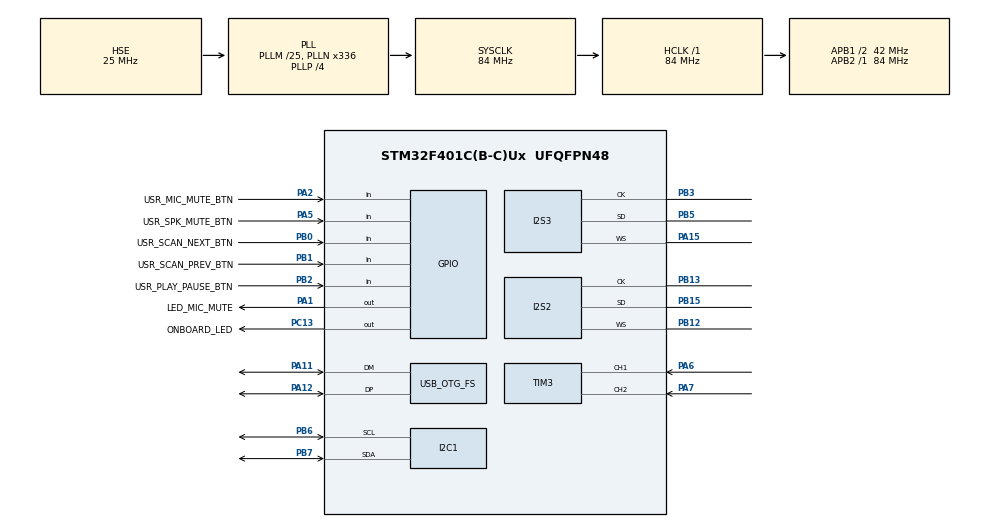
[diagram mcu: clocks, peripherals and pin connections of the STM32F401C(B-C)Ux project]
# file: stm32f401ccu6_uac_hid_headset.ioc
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Dma.I2C1_TX.2.Direction=DMA_MEMORY_TO_PERIPH
Dma.I2C1_TX.2.FIFOMode=DMA_FIFOMODE_DISABLE
Dma.I2C1_TX.2.Instance=DMA1_Stream6
Dma.I2C1_TX.2.MemDataAlignment=DMA_MDATAALIGN_BYTE
Dma.I2C1_TX.2.MemInc=DMA_MINC_ENABLE
Dma.I2C1_TX.2.Mode=DMA_NORMAL
Dma.I2C1_TX.2.PeriphDataAlignment=DMA_PDATAALIGN_BYTE
Dma.I2C1_TX.2.PeriphInc=DMA_PINC_DISABLE
Dma.I2C1_TX.2.Priority=DMA_PRIORITY_LOW
Dma.Request0=SPI2_TX
Dma.Request1=SPI3_RX
Dma.Request2=I2C1_TX
Dma.SPI2_TX.0.Direction=DMA_MEMORY_TO_PERIPH
Dma.SPI2_TX.0.FIFOMode=DMA_FIFOMODE_ENABLE
Dma.SPI2_TX.0.FIFOThreshold=DMA_FIFO_THRESHOLD_HALFFULL
Dma.SPI2_TX.0.Instance=DMA1_Stream4
Dma.SPI2_TX.0.MemBurst=DMA_MBURST_SINGLE
Dma.SPI2_TX.0.MemDataAlignment=DMA_MDATAALIGN_HALFWORD
Dma.SPI2_TX.0.MemInc=DMA_MINC_ENABLE
Dma.SPI2_TX.0.Mode=DMA_CIRCULAR
Dma.SPI2_TX.0.PeriphBurst=DMA_PBURST_SINGLE
Dma.SPI2_TX.0.PeriphDataAlignment=DMA_PDATAALIGN_HALFWORD
Dma.SPI2_TX.0.PeriphInc=DMA_PINC_DISABLE
Dma.SPI2_TX.0.Priority=DMA_PRIORITY_HIGH
Dma.SPI3_RX.1.Direction=DMA_PERIPH_TO_MEMORY
Dma.SPI3_RX.1.FIFOMode=DMA_FIFOMODE_ENABLE
Dma.SPI3_RX.1.FIFOThreshold=DMA_FIFO_THRESHOLD_HALFFULL
Dma.SPI3_RX.1.Instance=DMA1_Stream0
Dma.SPI3_RX.1.MemBurst=DMA_MBURST_SINGLE
Dma.SPI3_RX.1.MemDataAlignment=DMA_MDATAALIGN_HALFWORD
Dma.SPI3_RX.1.MemInc=DMA_MINC_ENABLE
Dma.SPI3_RX.1.Mode=DMA_CIRCULAR
Dma.SPI3_RX.1.PeriphBurst=DMA_PBURST_SINGLE
Dma.SPI3_RX.1.PeriphDataAlignment=DMA_PDATAALIGN_HALFWORD
Dma.SPI3_RX.1.PeriphInc=DMA_PINC_DISABLE
Dma.SPI3_RX.1.Priority=DMA_PRIORITY_HIGH
I2S2.AudioFreq=I2S_AUDIOFREQ_44K
I2S2.DataFormat=I2S_DATAFORMAT_32B
I2S2.ErrorAudioFreq=0.22 %
I2S2.FullDuplexMode=I2S_FULLDUPLEXMODE_DISABLE
I2S2.Instance=SPI$Index
I2S2.RealAudioFreq=44.099 KHz
I2S2.VirtualMode=I2S_MODE_MASTER
I2S3.AudioFreq=I2S_AUDIOFREQ_44K
I2S3.DataFormat=I2S_DATAFORMAT_32B
I2S3.ErrorAudioFreq=0.22 %
I2S3.FullDuplexMode=I2S_FULLDUPLEXMODE_DISABLE
I2S3.Instance=SPI$Index
I2S3.Mode=I2S_MODE_MASTER_RX
I2S3.RealAudioFreq=44.099 KHz
I2S3.VirtualMode=I2S_MODE_MASTER
Mcu.Family=STM32F4
Mcu.Name=STM32F401C(B-C)Ux
Mcu.Package=UFQFPN48
NVIC.DMA1_Stream0_IRQn=true\:0\:0\:false\:false\:true\:false\:true\:true
NVIC.DMA1_Stream4_IRQn=true\:0\:0\:false\:false\:true\:false\:true\:true
NVIC.DMA1_Stream6_IRQn=true\:0\:0\:false\:false\:true\:false\:true\:true
NVIC.I2C1_EV_IRQn=true\:0\:0\:false\:false\:true\:true\:true\:true
NVIC.PriorityGroup=NVIC_PRIORITYGROUP_4
PA1.GPIO_Label=LED_MIC_MUTE
PA1.Signal=GPIO_Output
PA11.Mode=Device_Only
PA11.Signal=USB_OTG_FS_DM
PA12.Mode=Device_Only
PA12.Signal=USB_OTG_FS_DP
PA13.Mode=Serial_Wire
PA13.Signal=SYS_JTMS-SWDIO
PA14.Mode=Serial_Wire
PA14.Signal=SYS_JTCK-SWCLK
PA15.Mode=Half_Duplex_Master
PA15.Signal=I2S3_WS
PA2.GPIO_Label=USR_MIC_MUTE_BTN
PA2.GPIO_PuPd=GPIO_PULLDOWN
PA2.Signal=GPIO_Input
PA5.GPIO_Label=USR_SPK_MUTE_BTN
PA5.GPIO_PuPd=GPIO_PULLUP
PA5.Signal=GPIO_Input
PA6.Signal=S_TIM3_CH1
PA7.Signal=S_TIM3_CH2
PB0.GPIO_Label=USR_SCAN_NEXT_BTN
PB0.GPIO_PuPd=GPIO_PULLDOWN
PB0.Signal=GPIO_Input
PB1.GPIO_Label=USR_SCAN_PREV_BTN
PB1.GPIO_PuPd=GPIO_PULLDOWN
PB1.Signal=GPIO_Input
PB12.Mode=Half_Duplex_Master
PB12.Signal=I2S2_WS
PB13.Mode=Half_Duplex_Master
PB13.Signal=I2S2_CK
PB15.Mode=Half_Duplex_Master
PB15.Signal=I2S2_SD
PB2.GPIO_Label=USR_PLAY_PAUSE_BTN
PB2.GPIO_PuPd=GPIO_PULLDOWN
PB2.Signal=GPIO_Input
PB3.Mode=Half_Duplex_Master
PB3.Signal=I2S3_CK
PB5.Mode=Half_Duplex_Master
PB5.Signal=I2S3_SD
PB6.Mode=I2C
PB6.Signal=I2C1_SCL
PB7.Mode=I2C
PB7.Signal=I2C1_SDA
PC13-ANTI_TAMP.GPIO_Label=ONBOARD_LED
PC13-ANTI_TAMP.Signal=GPIO_Output
PH0\ -\ OSC_IN.Mode=HSE-External-Oscillator
PH0\ -\ OSC_IN.Signal=RCC_OSC_IN
PH1\ -\ OSC_OUT.Mode=HSE-External-Oscillator
PH1\ -\ OSC_OUT.Signal=RCC_OSC_OUT
ProjectManager.HeapSize=0x200
ProjectManager.StackSize=0x400
ProjectManager.TargetToolchain=STM32CubeIDE
RCC.48MHZClocksFreq_Value=48000000
RCC.AHBFreq_Value=84000000
RCC.APB1CLKDivider=RCC_HCLK_DIV2
RCC.APB1Freq_Value=42000000
RCC.APB1TimFreq_Value=84000000
RCC.APB2Freq_Value=84000000
RCC.APB2TimFreq_Value=84000000
RCC.CortexFreq_Value=84000000
RCC.HCLKFreq_Value=84000000
RCC.HSE_VALUE=25000000
RCC.HSI_VALUE=16000000
RCC.LSE_VALUE=32768
RCC.PLLI2SN=429
RCC.PLLI2SR=4
RCC.PLLM=25
RCC.PLLN=336
RCC.PLLP=RCC_PLLP_DIV4
RCC.PLLQ=7
RCC.SYSCLKFreq_VALUE=84000000
RCC.SYSCLKSource=RCC_SYSCLKSOURCE_PLLCLK
RCC.VCOOutputFreq_Value=336000000
SH.S_TIM3_CH1.0=TIM3_CH1,Encoder_Interface
SH.S_TIM3_CH2.0=TIM3_CH2,Encoder_Interface
USB_OTG_FS.VirtualMode=Device_Only
board=custom

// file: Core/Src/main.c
/* USER CODE BEGIN Header */
/**
 ******************************************************************************
 * @file           : main.c
 * @brief          : Main program body
 ******************************************************************************
 * @attention
 *
 * Copyright (c) 2024 STMicroelectronics.
 * All rights reserved.
 *
 * This software is licensed under terms that can be found in the LICENSE file
 * in the root directory of this software component.
 * If no LICENSE file comes with this software, it is provided AS-IS.
 *
 ******************************************************************************
 */
/* USER CODE END Header */
#include "main.h"

/* USER CODE BEGIN Includes */
#include <stdio.h>
#include <string.h>

#include "bsp/board_api.h"
#include "tusb.h"
#include "usb_descriptors.h"

#include "usb_headset.h"
#include "volume_ctrl.h"
#include "ring_buf.h"
#include "usb_headset_settings.h"

#include "ssd1306.h"
#include "ssd1306_fonts.h"

#include "usb_hid_status.h"
/* USER CODE END Includes */

I2C_HandleTypeDef hi2c1;
DMA_HandleTypeDef hdma_i2c1_tx;

I2S_HandleTypeDef hi2s2;
I2S_HandleTypeDef hi2s3;
DMA_HandleTypeDef hdma_spi2_tx;
DMA_HandleTypeDef hdma_spi3_rx;

TIM_HandleTypeDef htim3;

PCD_HandleTypeDef hpcd_USB_OTG_FS;

/* USER CODE BEGIN PV */
usb_headset_settings_t current_settings;

// Buffer for speaker data
ring_buf_t spk_ring_buffer;
uint32_t *spk_ring_buffer_storage;

// Buffer for microphone data
ring_buf_t mic_ring_buffer;
uint32_t *mic_ring_buffer_storage;

// Buffer for speaker data
uint8_t spk_usb_read_buf[SAMPLE_BUFFER_SIZE * 2 * 4 * 2]; // Max size of audio sample is  2 * 4. 2 Channels, 4 byte width sample
i2s_32b_audio_sample spk_32b_i2s_buffer[SAMPLE_BUFFER_SIZE];
i2s_16b_audio_sample spk_16b_i2s_buffer[SAMPLE_BUFFER_SIZE];
uint32_t spk_i2s_buf[SAMPLE_BUFFER_SIZE * 2];

// Buffer for microphone data
uint32_t mic_usb_24b_buffer[SAMPLE_BUFFER_SIZE];
uint16_t mic_usb_16b_buffer[SAMPLE_BUFFER_SIZE];
uint32_t mic_i2s_buf[SAMPLE_BUFFER_SIZE * 2];
uint32_t mic_i2s_read_buffer[SAMPLE_BUFFER_SIZE];
uint32_t num_of_mic_samples;

uint32_t get_num_of_mic_samples();

usb_hid_status_t hid_status;
void check_buttons(void);
void usb_hid_task(void);

void led_blinking_task(void);

HAL_StatusTypeDef refresh_i2s_spk(void);
HAL_StatusTypeDef refresh_i2s_mic(void);
HAL_StatusTypeDef refresh_clk(void);
void refresh_i2s_connections(void);

int32_t usb_to_i2s_32b_sample_convert(int32_t sample, uint32_t volume_db);
int16_t usb_to_i2s_16b_sample_convert(int16_t sample, uint32_t volume_db);

void usb_headset_mute_handler(int8_t bChannelNumber, int8_t mute_in);
void usb_headset_volume_handler(int8_t bChannelNumber, int16_t volume_in);
void usb_headset_current_sample_rate_handler(uint32_t current_sample_rate_in);
void usb_headset_current_resolution_handler(uint8_t itf,
		uint8_t current_resolution_in);
void usb_headset_current_status_set_handler(uint8_t itf,
		uint32_t blink_interval_ms_in);

void usb_headset_tud_audio_rx_done_pre_read_handler(uint8_t rhport,
		uint16_t n_bytes_received, uint8_t func_id, uint8_t ep_out,
		uint8_t cur_alt_setting);
void usb_headset_tud_audio_tx_done_pre_load_handler(uint8_t rhport, uint8_t itf,
		uint8_t ep_in, uint8_t cur_alt_setting);
void usb_headset_tud_audio_tx_done_post_load_handler(uint8_t rhport,
		uint16_t n_bytes_copied, uint8_t itf, uint8_t ep_in,
		uint8_t cur_alt_setting);

int spk_machine_i2s_write_stream(uint32_t *buf_in, uint32_t size);
int mic_machine_i2s_read_stream(uint32_t *buf_in, uint32_t size);

void HAL_I2S_TxHalfCpltCallback(I2S_HandleTypeDef *hi2s);
void HAL_I2S_TxCpltCallback(I2S_HandleTypeDef *hi2s);
void HAL_I2S_RxHalfCpltCallback(I2S_HandleTypeDef *hi2s);
void HAL_I2S_RxCpltCallback(I2S_HandleTypeDef *hi2s);
//void HAL_I2S_ErrorCallback(I2S_HandleTypeDef *hi2s);
void HAL_GPIO_EXTI_Callback(uint16_t GPIO_Pin);

uint32_t feed_spk_dma(uint32_t *dma_buffer_p,
		uint32_t sizeof_half_dma_buffer_in_bytes);

uint32_t empty_mic_dma(uint32_t *dma_buffer_p,
		uint32_t sizeof_half_dma_buffer_in_words);

void status_update_task(void);
void display_ssd1306_info(void);

/* USER CODE END PV */

void SystemClock_Config(void);
void PeriphCommonClock_Config(void);
static void MX_GPIO_Init(void);
static void MX_DMA_Init(void);
static void MX_TIM3_Init(void);
static void MX_I2C1_Init(void);
static void MX_I2S2_Init(void);
static void MX_I2S3_Init(void);
static void MX_USB_OTG_FS_PCD_Init(void);

int main(void)
{

  /* MCU Configuration--------------------------------------------------------*/

  /* Reset of all peripherals, Initializes the Flash interface and the Systick. */
  HAL_Init();

  /* Configure the system clock */
  SystemClock_Config();

  /* Configure the peripherals common clocks */
  PeriphCommonClock_Config();

  /* Initialize all configured peripherals */
  MX_GPIO_Init();
  MX_DMA_Init();
  MX_TIM3_Init();
  MX_I2C1_Init();
  MX_I2S2_Init();
  MX_I2S3_Init();
  MX_USB_OTG_FS_PCD_Init();
  /* USER CODE BEGIN 2 */

	current_settings.spk_sample_rate = I2S_SPK_RATE_DEF;
	current_settings.spk_resolution =
	CFG_TUD_AUDIO_FUNC_1_FORMAT_1_RESOLUTION_RX;
	current_settings.spk_blink_interval_ms = BLINK_NOT_MOUNTED;

	current_settings.mic_resolution =
	CFG_TUD_AUDIO_FUNC_1_FORMAT_1_RESOLUTION_RX;
	current_settings.mic_blink_interval_ms = BLINK_NOT_MOUNTED;
	current_settings.usr_mic_mute = false;

	current_settings.status_updated = false;

	usb_headset_set_mute_set_handler(usb_headset_mute_handler);
	usb_headset_set_volume_set_handler(usb_headset_volume_handler);
	usb_headset_set_current_sample_rate_set_handler(
			usb_headset_current_sample_rate_handler);
	usb_headset_set_current_resolution_set_handler(
			usb_headset_current_resolution_handler);
	usb_headset_set_current_status_set_handler(
			usb_headset_current_status_set_handler);

	usb_headset_set_tud_audio_rx_done_pre_read_set_handler(
			usb_headset_tud_audio_rx_done_pre_read_handler);
	usb_headset_set_tud_audio_tx_done_pre_load_set_handler(
			usb_headset_tud_audio_tx_done_pre_load_handler);
	usb_headset_set_tud_audio_tx_done_post_load_set_handler(
			usb_headset_tud_audio_tx_done_post_load_handler);

	for (int i = 0; i < (CFG_TUD_AUDIO_FUNC_1_N_CHANNELS_RX + 1); i++) {
		current_settings.spk_volume[i] = DEFAULT_VOLUME;
		current_settings.spk_mute[i] = 0;
		current_settings.spk_volume_db[i] = vol_to_db_convert_enc(
				current_settings.spk_mute[i], current_settings.spk_volume[i]);
	}

	HAL_GPIO_WritePin(LED_MIC_MUTE_GPIO_Port, LED_MIC_MUTE_Pin, GPIO_PIN_SET);

	usb_headset_init();
	refresh_i2s_connections();

	TU_LOG1("Headset running\r\n");

	// Init SSD
	ssd1306_Init();

	memset(&hid_status, 0x0, sizeof(hid_status));
	HAL_TIM_Encoder_Start_IT(&htim3, TIM_CHANNEL_ALL);

  /* USER CODE END 2 */

  /* Infinite loop */
  /* USER CODE BEGIN WHILE */
	while (1) {
		usb_headset_task(); // TinyUSB device task
		led_blinking_task();
		status_update_task();
		usb_hid_task();

		ssd1306_DMA_task();

    /* USER CODE END WHILE */

	}
}

void SystemClock_Config(void)
{
  RCC_OscInitTypeDef RCC_OscInitStruct = {0};
  RCC_ClkInitTypeDef RCC_ClkInitStruct = {0};

  /** Configure the main internal regulator output voltage
  */
  __HAL_RCC_PWR_CLK_ENABLE();
  __HAL_PWR_VOLTAGESCALING_CONFIG(PWR_REGULATOR_VOLTAGE_SCALE2);

  /** Initializes the RCC Oscillators according to the specified parameters
  * in the RCC_OscInitTypeDef structure.
  */
  RCC_OscInitStruct.OscillatorType = RCC_OSCILLATORTYPE_HSE;
  RCC_OscInitStruct.HSEState = RCC_HSE_ON;
  RCC_OscInitStruct.PLL.PLLState = RCC_PLL_ON;
  RCC_OscInitStruct.PLL.PLLSource = RCC_PLLSOURCE_HSE;
  RCC_OscInitStruct.PLL.PLLM = 25;
  RCC_OscInitStruct.PLL.PLLN = 336;
  RCC_OscInitStruct.PLL.PLLP = RCC_PLLP_DIV4;
  RCC_OscInitStruct.PLL.PLLQ = 7;
  if (HAL_RCC_OscConfig(&RCC_OscInitStruct) != HAL_OK)
  {
    Error_Handler();
  }

  /** Initializes the CPU, AHB and APB buses clocks
  */
  RCC_ClkInitStruct.ClockType = RCC_CLOCKTYPE_HCLK|RCC_CLOCKTYPE_SYSCLK
                              |RCC_CLOCKTYPE_PCLK1|RCC_CLOCKTYPE_PCLK2;
  RCC_ClkInitStruct.SYSCLKSource = RCC_SYSCLKSOURCE_PLLCLK;
  RCC_ClkInitStruct.AHBCLKDivider = RCC_SYSCLK_DIV1;
  RCC_ClkInitStruct.APB1CLKDivider = RCC_HCLK_DIV2;
  RCC_ClkInitStruct.APB2CLKDivider = RCC_HCLK_DIV1;

  if (HAL_RCC_ClockConfig(&RCC_ClkInitStruct, FLASH_LATENCY_2) != HAL_OK)
  {
    Error_Handler();
  }
}

void PeriphCommonClock_Config(void)
{
  RCC_PeriphCLKInitTypeDef PeriphClkInitStruct = {0};

  /** Initializes the peripherals clock
  */
  PeriphClkInitStruct.PeriphClockSelection = RCC_PERIPHCLK_I2S;
  PeriphClkInitStruct.PLLI2S.PLLI2SN = 429;
  PeriphClkInitStruct.PLLI2S.PLLI2SR = 4;
  if (HAL_RCCEx_PeriphCLKConfig(&PeriphClkInitStruct) != HAL_OK)
  {
    Error_Handler();
  }
}

static void MX_I2C1_Init(void)
{

  hi2c1.Instance = I2C1;
  hi2c1.Init.ClockSpeed = 100000;
  hi2c1.Init.DutyCycle = I2C_DUTYCYCLE_2;
  hi2c1.Init.OwnAddress1 = 0;
  hi2c1.Init.AddressingMode = I2C_ADDRESSINGMODE_7BIT;
  hi2c1.Init.DualAddressMode = I2C_DUALADDRESS_DISABLE;
  hi2c1.Init.OwnAddress2 = 0;
  hi2c1.Init.GeneralCallMode = I2C_GENERALCALL_DISABLE;
  hi2c1.Init.NoStretchMode = I2C_NOSTRETCH_DISABLE;
  if (HAL_I2C_Init(&hi2c1) != HAL_OK)
  {
    Error_Handler();
  }

}

static void MX_I2S2_Init(void)
{

  hi2s2.Instance = SPI2;
  hi2s2.Init.Mode = I2S_MODE_MASTER_TX;
  hi2s2.Init.Standard = I2S_STANDARD_PHILIPS;
  hi2s2.Init.DataFormat = I2S_DATAFORMAT_32B;
  hi2s2.Init.MCLKOutput = I2S_MCLKOUTPUT_DISABLE;
  hi2s2.Init.AudioFreq = I2S_AUDIOFREQ_44K;
  hi2s2.Init.CPOL = I2S_CPOL_LOW;
  hi2s2.Init.ClockSource = I2S_CLOCK_PLL;
  hi2s2.Init.FullDuplexMode = I2S_FULLDUPLEXMODE_DISABLE;
  if (HAL_I2S_Init(&hi2s2) != HAL_OK)
  {
    Error_Handler();
  }

}

static void MX_I2S3_Init(void)
{

  hi2s3.Instance = SPI3;
  hi2s3.Init.Mode = I2S_MODE_MASTER_RX;
  hi2s3.Init.Standard = I2S_STANDARD_PHILIPS;
  hi2s3.Init.DataFormat = I2S_DATAFORMAT_32B;
  hi2s3.Init.MCLKOutput = I2S_MCLKOUTPUT_DISABLE;
  hi2s3.Init.AudioFreq = I2S_AUDIOFREQ_44K;
  hi2s3.Init.CPOL = I2S_CPOL_LOW;
  hi2s3.Init.ClockSource = I2S_CLOCK_PLL;
  hi2s3.Init.FullDuplexMode = I2S_FULLDUPLEXMODE_DISABLE;
  if (HAL_I2S_Init(&hi2s3) != HAL_OK)
  {
    Error_Handler();
  }

}

static void MX_TIM3_Init(void)
{

  TIM_Encoder_InitTypeDef sConfig = {0};
  TIM_MasterConfigTypeDef sMasterConfig = {0};

  htim3.Instance = TIM3;
  htim3.Init.Prescaler = 0;
  htim3.Init.CounterMode = TIM_COUNTERMODE_UP;
  htim3.Init.Period = 65535;
  htim3.Init.ClockDivision = TIM_CLOCKDIVISION_DIV1;
  htim3.Init.AutoReloadPreload = TIM_AUTORELOAD_PRELOAD_DISABLE;
  sConfig.EncoderMode = TIM_ENCODERMODE_TI1;
  sConfig.IC1Polarity = TIM_ICPOLARITY_RISING;
  sConfig.IC1Selection = TIM_ICSELECTION_DIRECTTI;
  sConfig.IC1Prescaler = TIM_ICPSC_DIV1;
  sConfig.IC1Filter = 0;
  sConfig.IC2Polarity = TIM_ICPOLARITY_RISING;
  sConfig.IC2Selection = TIM_ICSELECTION_DIRECTTI;
  sConfig.IC2Prescaler = TIM_ICPSC_DIV1;
  sConfig.IC2Filter = 0;
  if (HAL_TIM_Encoder_Init(&htim3, &sConfig) != HAL_OK)
  {
    Error_Handler();
  }
  sMasterConfig.MasterOutputTrigger = TIM_TRGO_RESET;
  sMasterConfig.MasterSlaveMode = TIM_MASTERSLAVEMODE_DISABLE;
  if (HAL_TIMEx_MasterConfigSynchronization(&htim3, &sMasterConfig) != HAL_OK)
  {
    Error_Handler();
  }

}

static void MX_USB_OTG_FS_PCD_Init(void)
{

  hpcd_USB_OTG_FS.Instance = USB_OTG_FS;
  hpcd_USB_OTG_FS.Init.dev_endpoints = 4;
  hpcd_USB_OTG_FS.Init.speed = PCD_SPEED_FULL;
  hpcd_USB_OTG_FS.Init.dma_enable = DISABLE;
  hpcd_USB_OTG_FS.Init.phy_itface = PCD_PHY_EMBEDDED;
  hpcd_USB_OTG_FS.Init.Sof_enable = DISABLE;
  hpcd_USB_OTG_FS.Init.low_power_enable = DISABLE;
  hpcd_USB_OTG_FS.Init.lpm_enable = DISABLE;
  hpcd_USB_OTG_FS.Init.vbus_sensing_enable = DISABLE;
  hpcd_USB_OTG_FS.Init.use_dedicated_ep1 = DISABLE;
  if (HAL_PCD_Init(&hpcd_USB_OTG_FS) != HAL_OK)
  {
    Error_Handler();
  }

}

static void MX_DMA_Init(void)
{

  /* DMA controller clock enable */
  __HAL_RCC_DMA1_CLK_ENABLE();

  /* DMA interrupt init */
  /* DMA1_Stream0_IRQn interrupt configuration */
  HAL_NVIC_SetPriority(DMA1_Stream0_IRQn, 0, 0);
  HAL_NVIC_EnableIRQ(DMA1_Stream0_IRQn);
  /* DMA1_Stream4_IRQn interrupt configuration */
  HAL_NVIC_SetPriority(DMA1_Stream4_IRQn, 0, 0);
  HAL_NVIC_EnableIRQ(DMA1_Stream4_IRQn);
  /* DMA1_Stream6_IRQn interrupt configuration */
  HAL_NVIC_SetPriority(DMA1_Stream6_IRQn, 0, 0);
  HAL_NVIC_EnableIRQ(DMA1_Stream6_IRQn);

}

static void MX_GPIO_Init(void)
{
  GPIO_InitTypeDef GPIO_InitStruct = {0};

  /* GPIO Ports Clock Enable */
  __HAL_RCC_GPIOC_CLK_ENABLE();
  __HAL_RCC_GPIOH_CLK_ENABLE();
  __HAL_RCC_GPIOA_CLK_ENABLE();
  __HAL_RCC_GPIOB_CLK_ENABLE();

  /*Configure GPIO pin Output Level */
  HAL_GPIO_WritePin(ONBOARD_LED_GPIO_Port, ONBOARD_LED_Pin, GPIO_PIN_RESET);

  /*Configure GPIO pin Output Level */
  HAL_GPIO_WritePin(LED_MIC_MUTE_GPIO_Port, LED_MIC_MUTE_Pin, GPIO_PIN_RESET);

  /*Configure GPIO pin : ONBOARD_LED_Pin */
  GPIO_InitStruct.Pin = ONBOARD_LED_Pin;
  GPIO_InitStruct.Mode = GPIO_MODE_OUTPUT_PP;
  GPIO_InitStruct.Pull = GPIO_NOPULL;
  GPIO_InitStruct.Speed = GPIO_SPEED_FREQ_LOW;
  HAL_GPIO_Init(ONBOARD_LED_GPIO_Port, &GPIO_InitStruct);

  /*Configure GPIO pin : LED_MIC_MUTE_Pin */
  GPIO_InitStruct.Pin = LED_MIC_MUTE_Pin;
  GPIO_InitStruct.Mode = GPIO_MODE_OUTPUT_PP;
  GPIO_InitStruct.Pull = GPIO_NOPULL;
  GPIO_InitStruct.Speed = GPIO_SPEED_FREQ_LOW;
  HAL_GPIO_Init(LED_MIC_MUTE_GPIO_Port, &GPIO_InitStruct);

  /*Configure GPIO pin : USR_MIC_MUTE_BTN_Pin */
  GPIO_InitStruct.Pin = USR_MIC_MUTE_BTN_Pin;
  GPIO_InitStruct.Mode = GPIO_MODE_INPUT;
  GPIO_InitStruct.Pull = GPIO_PULLDOWN;
  HAL_GPIO_Init(USR_MIC_MUTE_BTN_GPIO_Port, &GPIO_InitStruct);

  /*Configure GPIO pin : USR_SPK_MUTE_BTN_Pin */
  GPIO_InitStruct.Pin = USR_SPK_MUTE_BTN_Pin;
  GPIO_InitStruct.Mode = GPIO_MODE_INPUT;
  GPIO_InitStruct.Pull = GPIO_PULLUP;
  HAL_GPIO_Init(USR_SPK_MUTE_BTN_GPIO_Port, &GPIO_InitStruct);

  /*Configure GPIO pins : USR_SCAN_NEXT_BTN_Pin USR_SCAN_PREV_BTN_Pin USR_PLAY_PAUSE_BTN_Pin */
  GPIO_InitStruct.Pin = USR_SCAN_NEXT_BTN_Pin|USR_SCAN_PREV_BTN_Pin|USR_PLAY_PAUSE_BTN_Pin;
  GPIO_InitStruct.Mode = GPIO_MODE_INPUT;
  GPIO_InitStruct.Pull = GPIO_PULLDOWN;
  HAL_GPIO_Init(GPIOB, &GPIO_InitStruct);

}

/* USER CODE BEGIN 4 */

void refresh_i2s_connections(void) {
	HAL_I2S_StateTypeDef dma_state;
	// Stop speaker DMA
	dma_state = HAL_I2S_GetState(&hi2s2);
	if (dma_state != HAL_I2S_STATE_READY) {
		HAL_StatusTypeDef stop_status = HAL_I2S_DMAStop(&hi2s2);
		if (stop_status != HAL_OK) {
			Error_Handler();
		}
	}

	// Stop microphone DMA
	dma_state = HAL_I2S_GetState(&hi2s3);
	if (dma_state != HAL_I2S_STATE_READY) {
		HAL_StatusTypeDef stop_status = HAL_I2S_DMAStop(&hi2s3);
		if (stop_status != HAL_OK) {
			Error_Handler();
		}
	}

	HAL_StatusTypeDef tx_i2s_status = refresh_i2s_spk();
	if (tx_i2s_status != HAL_OK) {
		Error_Handler();
	}
	HAL_StatusTypeDef rx_i2s_status = refresh_i2s_mic();
	if (rx_i2s_status != HAL_OK) {
		Error_Handler();
	}

	HAL_StatusTypeDef clk_reconfig_status = refresh_clk();
	if (clk_reconfig_status != HAL_OK) {
		Error_Handler();
	}

	if (spk_ring_buffer_storage != NULL) {
		free(spk_ring_buffer_storage);
	}
	if (mic_ring_buffer_storage != NULL) {
		free(mic_ring_buffer_storage);
	}

	current_settings.samples_in_i2s_frame_min =
			(current_settings.spk_sample_rate) / 1000;
	current_settings.samples_in_i2s_frame_max =
			(current_settings.spk_sample_rate + 999) / 1000;

	// Ring buffer contains 2 ms data
	spk_ring_buffer_storage = m_new(uint32_t,
			current_settings.samples_in_i2s_frame_max * 2 * 2);
	ringbuf_init(&spk_ring_buffer, spk_ring_buffer_storage,
			current_settings.samples_in_i2s_frame_max * 2 * 2);

	mic_ring_buffer_storage = m_new(uint32_t,
			current_settings.samples_in_i2s_frame_max * 2 * 2);
	ringbuf_init(&mic_ring_buffer, mic_ring_buffer_storage,
			current_settings.samples_in_i2s_frame_max * 2 * 2);

	// Clear memories
	memset(spk_i2s_buf, 0x0, sizeof(spk_i2s_buf));
	memset(mic_i2s_buf, 0x0, sizeof(mic_i2s_buf));
	memset(mic_usb_24b_buffer, 0x0, sizeof(mic_usb_24b_buffer));
	memset(mic_usb_16b_buffer, 0x0, sizeof(mic_usb_16b_buffer));

	uint16_t num_of_samples_in_buffer =
			current_settings.samples_in_i2s_frame_min * 2;

	// Run transmit DMA
	HAL_StatusTypeDef tx_status = HAL_I2S_Transmit_DMA(&hi2s2, spk_i2s_buf,
			num_of_samples_in_buffer);
	if (tx_status != HAL_OK) {
		Error_Handler();
	}

	HAL_StatusTypeDef rx_status = HAL_I2S_Receive_DMA(&hi2s3, mic_i2s_buf,
			num_of_samples_in_buffer);
	if (rx_status != HAL_OK) {
		Error_Handler();
	}
}

HAL_StatusTypeDef refresh_i2s_spk(void) {
	HAL_StatusTypeDef status = HAL_I2S_DeInit(&hi2s2);
	if (status != HAL_OK)
		return status;

	hi2s2.Instance = SPI2;
	hi2s2.Init.Mode = I2S_MODE_MASTER_TX;
	hi2s2.Init.Standard = I2S_STANDARD_PHILIPS;
	hi2s2.Init.DataFormat =
			(current_settings.spk_resolution == 16) ?
			I2S_DATAFORMAT_16B :
														I2S_DATAFORMAT_32B; //I2S_DATAFORMAT_32B;
	hi2s2.Init.MCLKOutput = I2S_MCLKOUTPUT_DISABLE;
	hi2s2.Init.AudioFreq = current_settings.spk_sample_rate; //I2S_AUDIOFREQ_48K;
	hi2s2.Init.CPOL = I2S_CPOL_LOW;
	hi2s2.Init.ClockSource = I2S_CLOCK_PLL;
	hi2s2.Init.FullDuplexMode = I2S_FULLDUPLEXMODE_DISABLE;
	if (HAL_I2S_Init(&hi2s2) != HAL_OK) {
		Error_Handler();
	}

	return HAL_OK;
}

HAL_StatusTypeDef refresh_i2s_mic(void) {
	HAL_StatusTypeDef status = HAL_I2S_DeInit(&hi2s3);
	if (status != HAL_OK)
		return status;

	hi2s3.Instance = SPI3;
	hi2s3.Init.Mode = I2S_MODE_MASTER_RX;
	hi2s3.Init.Standard = I2S_STANDARD_PHILIPS;
	hi2s3.Init.DataFormat = I2S_DATAFORMAT_32B;
	hi2s3.Init.MCLKOutput = I2S_MCLKOUTPUT_DISABLE;
	hi2s3.Init.AudioFreq = current_settings.spk_sample_rate; //I2S_AUDIOFREQ_48K;
	hi2s3.Init.CPOL = I2S_CPOL_LOW;
	hi2s3.Init.ClockSource = I2S_CLOCK_PLL;
	hi2s3.Init.FullDuplexMode = I2S_FULLDUPLEXMODE_DISABLE;
	if (HAL_I2S_Init(&hi2s3) != HAL_OK) {
		Error_Handler();
	}

	return HAL_OK;
}

HAL_StatusTypeDef refresh_clk(void){
//	typedef struct I2S_CLK_CONFIG_ {
//		uint32_t N;
//		uint32_t R;
//		uint32_t I2SDIV;
//		uint32_t ODD;
//		uint32_t nominal_fdbk;
//	} I2S_CLK_CONFIG;
//	const I2S_CLK_CONFIG I2S_Clk_Config24[3]  = {
//	{429, 4, 19, 0, 0x0B065E56}, // 44.0995
//	{384, 5, 12, 1, 0x0C000000}, // 48.0000
//	{424, 3, 11, 1, 0x1800ED70}  // 96.0144
//	};
//

//	RCC_OscInitTypeDef RCC_OscInitStruct = {0};
	RCC_PeriphCLKInitTypeDef PeriphClkInitStruct = {0};

	if(current_settings.spk_sample_rate == 48000){
//		RCC_OscInitStruct.OscillatorType = RCC_OSCILLATORTYPE_HSE;
//		RCC_OscInitStruct.HSEState = RCC_HSE_ON;
//		RCC_OscInitStruct.PLL.PLLState = RCC_PLL_ON;
//		RCC_OscInitStruct.PLL.PLLSource = RCC_PLLSOURCE_HSE;
//		RCC_OscInitStruct.PLL.PLLM = 25;
//		RCC_OscInitStruct.PLL.PLLN = 336;
//		RCC_OscInitStruct.PLL.PLLP = RCC_PLLP_DIV4;
//		RCC_OscInitStruct.PLL.PLLQ = 7;
//
//		HAL_StatusTypeDef OscConfig_stat = HAL_RCC_OscConfig(&RCC_OscInitStruct);
//		if(OscConfig_stat != HAL_OK){
//			return OscConfig_stat;
//		}

		/** Initializes the peripherals clock
		 */
		PeriphClkInitStruct.PeriphClockSelection = RCC_PERIPHCLK_I2S;
		PeriphClkInitStruct.PLLI2S.PLLI2SN = 384;
		PeriphClkInitStruct.PLLI2S.PLLI2SR = 5;
		HAL_StatusTypeDef PeriphCLKConfig_stat = HAL_RCCEx_PeriphCLKConfig(&PeriphClkInitStruct);
		if(PeriphCLKConfig_stat != HAL_OK){
			Error_Handler();
		}

		return HAL_OK;
	}

	if(current_settings.spk_sample_rate == 44100){
//		RCC_OscInitStruct.OscillatorType = RCC_OSCILLATORTYPE_HSE;
//		RCC_OscInitStruct.HSEState = RCC_HSE_ON;
//		RCC_OscInitStruct.PLL.PLLState = RCC_PLL_ON;
//		RCC_OscInitStruct.PLL.PLLSource = RCC_PLLSOURCE_HSE;
//		RCC_OscInitStruct.PLL.PLLM = 25;
//		RCC_OscInitStruct.PLL.PLLN = 336;
//		RCC_OscInitStruct.PLL.PLLP = RCC_PLLP_DIV4;
//		RCC_OscInitStruct.PLL.PLLQ = 7;
//
//		HAL_StatusTypeDef OscConfig_stat = HAL_RCC_OscConfig(&RCC_OscInitStruct);
//		if(OscConfig_stat != HAL_OK){
//			return OscConfig_stat;
//		}

		/** Initializes the peripherals clock
		 */
		PeriphClkInitStruct.PeriphClockSelection = RCC_PERIPHCLK_I2S;
		PeriphClkInitStruct.PLLI2S.PLLI2SN = 429;
		PeriphClkInitStruct.PLLI2S.PLLI2SR = 4;
		HAL_StatusTypeDef PeriphCLKConfig_stat = HAL_RCCEx_PeriphCLKConfig(&PeriphClkInitStruct);
		if(PeriphCLKConfig_stat != HAL_OK){
			return PeriphCLKConfig_stat;
		}

		return HAL_OK;
	}

	return HAL_ERROR;
}

void usb_headset_mute_handler(int8_t bChannelNumber, int8_t mute_in) {
	current_settings.spk_mute[bChannelNumber] = mute_in;
	current_settings.spk_volume_db[bChannelNumber] = vol_to_db_convert_enc(
			current_settings.spk_mute[bChannelNumber],
			current_settings.spk_volume[bChannelNumber]);

	current_settings.spk_volume_mul_db[0] = current_settings.spk_volume_db[0]
			* current_settings.spk_volume_db[1]; // Left ch volume
	current_settings.spk_volume_mul_db[1] = current_settings.spk_volume_db[0]
			* current_settings.spk_volume_db[2]; // Right ch volume

	current_settings.status_updated = true;
}

void usb_headset_volume_handler(int8_t bChannelNumber, int16_t volume_in) {
	current_settings.spk_volume[bChannelNumber] = volume_in;
	current_settings.spk_volume_db[bChannelNumber] = vol_to_db_convert_enc(
			current_settings.spk_mute[bChannelNumber],
			current_settings.spk_volume[bChannelNumber]);

	current_settings.spk_volume_mul_db[0] = current_settings.spk_volume_db[0]
			* current_settings.spk_volume_db[1]; // Left ch volume
	current_settings.spk_volume_mul_db[1] = current_settings.spk_volume_db[0]
			* current_settings.spk_volume_db[2]; // Right ch volume

	current_settings.status_updated = true;
}

void usb_headset_current_sample_rate_handler(uint32_t current_sample_rate_in) {
	current_settings.spk_sample_rate = current_sample_rate_in;
	refresh_i2s_connections();
	current_settings.status_updated = true;
}

void usb_headset_current_resolution_handler(uint8_t itf,
		uint8_t current_resolution_in) {
	if ((itf == 0) || (itf == ITF_NUM_AUDIO_STREAMING_SPK))
		current_settings.spk_resolution = current_resolution_in;
	if ((itf == 0) || (itf == ITF_NUM_AUDIO_STREAMING_MIC))
		current_settings.mic_resolution = current_resolution_in;

	refresh_i2s_connections();
	current_settings.status_updated = true;
}

void usb_headset_current_status_set_handler(uint8_t itf,
		uint32_t blink_interval_ms_in) {
	if ((itf == 0) || (itf == ITF_NUM_AUDIO_STREAMING_SPK))
		current_settings.spk_blink_interval_ms = blink_interval_ms_in;
	if ((itf == 0) || (itf == ITF_NUM_AUDIO_STREAMING_MIC))
		current_settings.mic_blink_interval_ms = blink_interval_ms_in;
	current_settings.status_updated = true;
}

void usb_headset_tud_audio_rx_done_pre_read_handler(uint8_t rhport,
		uint16_t n_bytes_received, uint8_t func_id, uint8_t ep_out,
		uint8_t cur_alt_setting) {
	uint32_t volume_db_left = current_settings.spk_volume_mul_db[0];
	uint32_t volume_db_right = current_settings.spk_volume_mul_db[1];

	if (current_settings.spk_blink_interval_ms == BLINK_STREAMING) {
		// Speaker data size received in the last frame
		uint16_t usb_spk_data_size = tud_audio_n_read(func_id, spk_usb_read_buf,
				n_bytes_received);
		//uint16_t usb_spk_data_size = tud_audio_read(spk_usb_read_buf,
		//		n_bytes_received);
		uint16_t usb_sample_count = 0;

		if (current_settings.spk_resolution == 16) {
			int16_t *in = (int16_t*) spk_usb_read_buf;
			usb_sample_count = usb_spk_data_size / 4; // 4 bytes per sample 2b left, 2b right

			//if (usb_sample_count >= current_settings.samples_in_i2s_frame_min) {
			for (int i = 0; i < usb_sample_count; i++) {
				int16_t left = in[i * 2 + 0];
				int16_t right = in[i * 2 + 1];

				left = usb_to_i2s_16b_sample_convert(left, volume_db_left);
				right = usb_to_i2s_16b_sample_convert(right, volume_db_right);

				spk_16b_i2s_buffer[i].left = left;
				spk_16b_i2s_buffer[i].right = right;
			}
			spk_machine_i2s_write_stream(&spk_16b_i2s_buffer[0],
					usb_sample_count); // Number of words
			//}
		} else if (current_settings.spk_resolution == 24) {
			int32_t *in = (int32_t*) spk_usb_read_buf;
			usb_sample_count = usb_spk_data_size / 8; // 8 bytes per sample 4b left, 4b right

			//if (usb_sample_count >= current_settings.samples_in_i2s_frame_min) {
			for (int i = 0; i < usb_sample_count; i++) {
				int32_t left = in[i * 2 + 0];
				int32_t right = in[i * 2 + 1];

				left = usb_to_i2s_32b_sample_convert(left, volume_db_left);
				right = usb_to_i2s_32b_sample_convert(right, volume_db_right);

				spk_32b_i2s_buffer[i].left = left;
				spk_32b_i2s_buffer[i].right = right;
			}
			spk_machine_i2s_write_stream(&spk_32b_i2s_buffer[0],
					usb_sample_count * 2); // Number of words
			//}
		}
	}
}

uint32_t get_num_of_mic_samples(){
	static uint32_t format_44100_khz_counter = 0;
	if(current_settings.spk_sample_rate == 44100){
		format_44100_khz_counter++;
		if(format_44100_khz_counter >= 9){
			format_44100_khz_counter = 0;
			return 45;
		} else {
			return 44;
		}
	} else {
		return current_settings.samples_in_i2s_frame_min;
	}
}

void usb_headset_tud_audio_tx_done_pre_load_handler(uint8_t rhport, uint8_t itf,
		uint8_t ep_in, uint8_t cur_alt_setting) {
	if (current_settings.mic_blink_interval_ms == BLINK_STREAMING) {
		if (current_settings.mic_resolution == 24) {
			uint32_t buffer_size = num_of_mic_samples
					* CFG_TUD_AUDIO_FUNC_1_FORMAT_2_N_BYTES_PER_SAMPLE_TX
					* CFG_TUD_AUDIO_FUNC_1_N_CHANNELS_TX;
			uint16_t bytes_writen = tud_audio_write(&(mic_usb_24b_buffer[0]),
					buffer_size);
		} else {
			uint32_t buffer_size = num_of_mic_samples
					* CFG_TUD_AUDIO_FUNC_1_FORMAT_1_N_BYTES_PER_SAMPLE_TX
					* CFG_TUD_AUDIO_FUNC_1_N_CHANNELS_TX;
			uint16_t bytes_writen = tud_audio_write(&(mic_usb_16b_buffer[0]),
					buffer_size);
		}
	}
}

void usb_headset_tud_audio_tx_done_post_load_handler(uint8_t rhport,
		uint16_t n_bytes_copied, uint8_t itf, uint8_t ep_in,
		uint8_t cur_alt_setting) {

	if (current_settings.mic_blink_interval_ms != BLINK_STREAMING) {
		return;
	}

	if (current_settings.usr_mic_mute == true) {
		if (current_settings.mic_resolution == 24) {
			memset(mic_usb_24b_buffer, 0x0, sizeof(mic_usb_24b_buffer));
		} else {
			memset(mic_usb_16b_buffer, 0x0, sizeof(mic_usb_16b_buffer));
		}
		return;
	}

	// Read data from microphone
	num_of_mic_samples = get_num_of_mic_samples();
	uint32_t buffer_size_read = num_of_mic_samples;
	int num_words_read = mic_machine_i2s_read_stream(&mic_i2s_read_buffer[0],
			buffer_size_read);
	int num_of_frames_read = num_words_read;

	if (num_of_frames_read >= current_settings.samples_in_i2s_frame_min) {
		for (uint32_t i = 0; i < num_of_frames_read; i++) {
			if (current_settings.mic_resolution == 24) {
				int32_t mono_24b = (int32_t) mic_i2s_read_buffer[i]
						<< MIC_FORMAT_24B_TO_24B_SHIFT_VAL; // Magic number

				mic_usb_24b_buffer[i] = mono_24b; // TODO: check this value
			} else {
				int32_t mono_24b = (int32_t) mic_i2s_read_buffer[i]
						>> MIC_FORMAT_24B_TO_16B_SHIFT_VAL; // Magic number

				mic_usb_16b_buffer[i] = mono_24b; // TODO: check this value
			}
		}
	} else {
		if (current_settings.mic_resolution == 24) {
			memset(mic_usb_24b_buffer, 0x0, sizeof(mic_usb_24b_buffer));
		} else {
			memset(mic_usb_16b_buffer, 0x0, sizeof(mic_usb_16b_buffer));
		}
	}
}

int32_t usb_to_i2s_32b_sample_convert(int32_t sample, uint32_t volume_db) {
	int64_t sample_tmp = (int64_t) sample * (int64_t) volume_db;
	sample_tmp = sample_tmp >> 30;
	return (int32_t) sample_tmp;
//	return (int32_t)sample;
}

int16_t usb_to_i2s_16b_sample_convert(int16_t sample, uint32_t volume_db) {
	int64_t sample_tmp = (int64_t) sample * (int64_t) volume_db;
	sample_tmp = sample_tmp >> 30;
	return (int16_t) sample_tmp;
//	return (int16_t)sample;
}

//--------------------------------------------------------------------+
// BLINKING TASK
//--------------------------------------------------------------------+
void led_blinking_task(void) {
	static uint32_t start_ms = 0;
	static bool led_state = false;

	uint32_t cur_time_ms = board_millis();

	// Blink every interval ms
	if (cur_time_ms - start_ms < current_settings.spk_blink_interval_ms)
		return;
	start_ms += current_settings.spk_blink_interval_ms;

	board_led_write(led_state);
	led_state = 1 - led_state;
}

int spk_machine_i2s_write_stream(uint32_t *buf_in, uint32_t size) {
	if (size == 0) {
		return 0;
	}

	// copy audio samples from the app buffer to the ring buffer
	// loop, reading samples until the app buffer is emptied
	// for uasyncio mode, the loop will make an early exit if the ring buffer becomes full

	// Not allow buffer overflow
	uint16_t available_space = ringbuf_available_space(&spk_ring_buffer);
	if(available_space <= size){
		return 0;
	}

	if (current_settings.spk_resolution == 24) {
		for (uint32_t a_index = 0; a_index < size; a_index++) {
			if (ringbuf_push_half_word_swap(&spk_ring_buffer,
					buf_in[a_index]) == false) {
				return a_index;
			}
		}
	} else {
		for (uint32_t a_index = 0; a_index < size; a_index++) {
			if (ringbuf_push(&spk_ring_buffer, buf_in[a_index]) == false) {
				return a_index;
			}
		}
	}

	return size;
}

int mic_machine_i2s_read_stream(uint32_t *buf_in, uint32_t size) {
	if (size == 0) {
		return 0;
	}

	uint32_t available_data_words = ringbuf_available_data(&mic_ring_buffer);

	if (available_data_words >= size) {
		for (uint32_t i = 0; i < size; i++) {
			if (ringbuf_pop_half_word_swap(&mic_ring_buffer,
					&buf_in[i]) == false) {
				return i;
			}
		}
		return size;
	} else {
		// underflow.  clear buffer to transmit "silence" on the I2S bus
		memset(buf_in, 0, size * sizeof(uint32_t));
		return size;
	}
}

void HAL_I2S_TxHalfCpltCallback(I2S_HandleTypeDef *hi2s) {
	int num_of_words_feed =
			(current_settings.spk_resolution == 24) ?
					current_settings.samples_in_i2s_frame_min :
					current_settings.samples_in_i2s_frame_min / 2;
	feed_spk_dma(&spk_i2s_buf[0], num_of_words_feed);
}

void HAL_I2S_TxCpltCallback(I2S_HandleTypeDef *hi2s) {
	int num_of_words_feed =
			(current_settings.spk_resolution == 24) ?
					current_settings.samples_in_i2s_frame_min :
					current_settings.samples_in_i2s_frame_min / 2;
	feed_spk_dma(&spk_i2s_buf[num_of_words_feed], num_of_words_feed);
}

void HAL_I2S_RxHalfCpltCallback(I2S_HandleTypeDef *hi2s) {
	int num_of_words_empty = current_settings.samples_in_i2s_frame_min;
	empty_mic_dma(&mic_i2s_buf[0], num_of_words_empty);
}

void HAL_I2S_RxCpltCallback(I2S_HandleTypeDef *hi2s) {
	int num_of_words_empty = current_settings.samples_in_i2s_frame_min;
	empty_mic_dma(&mic_i2s_buf[num_of_words_empty],
			num_of_words_empty);
}

/**
 * @brief  EXTI line detection callbacks.
 * @param  GPIO_Pin Specifies the pins connected EXTI line
 * @retval None
 */
void HAL_GPIO_EXTI_Callback(uint16_t GPIO_Pin) {
	// No interrupts are connected...
	// Nothing to do here

//	static uint32_t prev_btb_press__ms = 0;
//
//	uint32_t cur_time_ms = board_millis();
//
//	if (cur_time_ms - prev_btb_press__ms < 50)
//		return;
//
//	prev_btb_press__ms = cur_time_ms;
}

void HAL_I2S_ErrorCallback(I2S_HandleTypeDef *hi2s) {
	refresh_i2s_connections();
}

uint32_t feed_spk_dma(uint32_t *dma_buffer_p,
		uint32_t sizeof_half_dma_buffer_in_words) {
	// when data exists, copy samples from ring buffer
	uint32_t available_data_words = ringbuf_available_data(&spk_ring_buffer);
	if (available_data_words > sizeof_half_dma_buffer_in_words) {
		available_data_words = sizeof_half_dma_buffer_in_words;
	}

	if (available_data_words >= sizeof_half_dma_buffer_in_words) {
		for (uint32_t i = 0; i < sizeof_half_dma_buffer_in_words; i++) {
			ringbuf_pop(&spk_ring_buffer, &dma_buffer_p[i]);
		}
		return available_data_words;
	} else {
		// underflow.  clear buffer to transmit "silence" on the I2S bus
		memset(dma_buffer_p, 0,
				sizeof_half_dma_buffer_in_words * sizeof(uint32_t));
		return sizeof_half_dma_buffer_in_words;
	}
}

uint32_t empty_mic_dma(uint32_t *dma_buffer_p,
		uint32_t sizeof_half_dma_buffer_in_words) {
	// when space exists, copy samples into ring buffer
	if (ringbuf_available_space(&mic_ring_buffer)
			>= sizeof_half_dma_buffer_in_words) {
		for (uint32_t i = 0; i < sizeof_half_dma_buffer_in_words; i += 2) {
			if (ringbuf_push(&mic_ring_buffer, dma_buffer_p[i]) == false)
				return i;
		}
	}
	return sizeof_half_dma_buffer_in_words;
}

//--------------------------------------------------------------------+
// STATUS UPDATE TASK
//--------------------------------------------------------------------+
void status_update_task(void) {
	static uint32_t prev_status_update__ms = 0;

	uint32_t cur_time_ms = board_millis();

	HAL_GPIO_WritePin(LED_MIC_MUTE_GPIO_Port, LED_MIC_MUTE_Pin,
			current_settings.usr_mic_mute ? GPIO_PIN_SET : GPIO_PIN_RESET);

	// Update status once per second
	if (cur_time_ms - prev_status_update__ms < 100)
		return;

	prev_status_update__ms = cur_time_ms;

	if (current_settings.status_updated == true) {
		current_settings.status_updated = false;
		display_ssd1306_info();
	}
}

void display_ssd1306_info(void) {
	char fmt_tmp_str[20] = "";

	ssd1306_Fill(Black);

	switch (current_settings.spk_blink_interval_ms) {
	case BLINK_NOT_MOUNTED: {
		ssd1306_SetCursor(4, 0);
		ssd1306_WriteString("Spk not mounted", Font_6x8, White);
		break;
	}
	case BLINK_SUSPENDED: {
		ssd1306_SetCursor(4, 0);
		ssd1306_WriteString("Spk suspended", Font_6x8, White);
		break;
	}
	case BLINK_MOUNTED: {
		ssd1306_SetCursor(4, 0);
		ssd1306_WriteString("Spk mounted", Font_6x8, White);
		break;
	}
	case BLINK_STREAMING: {
		char spk_streaming_str[20] = "Spk stream: ";
		memset(fmt_tmp_str, 0x0, sizeof(fmt_tmp_str));

		itoa(current_settings.spk_resolution, fmt_tmp_str, 10);
		strcat(spk_streaming_str, fmt_tmp_str);
		strcat(spk_streaming_str, " bit");

		ssd1306_SetCursor(4, 0);
		ssd1306_WriteString(spk_streaming_str, Font_6x8, White);
		break;
	}
	default: {
		ssd1306_SetCursor(4, 0);
		ssd1306_WriteString("Spk unknown", Font_6x8, White);
		break;
	}
	}

	switch (current_settings.mic_blink_interval_ms) {
	case BLINK_NOT_MOUNTED: {
		ssd1306_SetCursor(4, 8);
		ssd1306_WriteString("Mic not mounted", Font_6x8, White);
		break;
	}
	case BLINK_SUSPENDED: {
		ssd1306_SetCursor(4, 8);
		ssd1306_WriteString("Mic suspended", Font_6x8, White);
		break;
	}
	case BLINK_MOUNTED: {
		ssd1306_SetCursor(4, 8);
		ssd1306_WriteString("Mic mounted", Font_6x8, White);
		break;
	}
	case BLINK_STREAMING: {
		char mic_streaming_str[20] = "Mic stream: ";
		memset(fmt_tmp_str, 0x0, sizeof(fmt_tmp_str));

		itoa(current_settings.mic_resolution, fmt_tmp_str, 10);
		strcat(mic_streaming_str, fmt_tmp_str);
		strcat(mic_streaming_str, " bit");

		ssd1306_SetCursor(4, 8);
		ssd1306_WriteString(mic_streaming_str, Font_6x8, White);
		break;
	}
	default: {
		ssd1306_SetCursor(4, 8);
		ssd1306_WriteString("Mic unknown", Font_6x8, White);
		break;
	}
	}

	{
		char freq_str[20] = "Freq: ";

		memset(fmt_tmp_str, 0x0, sizeof(fmt_tmp_str));

		itoa((current_settings.spk_sample_rate), fmt_tmp_str, 10);
		strcat(freq_str, fmt_tmp_str);
		strcat(freq_str, " Hz");

		ssd1306_SetCursor(4, 16);
		ssd1306_WriteString(freq_str, Font_6x8, White);

	}

	{
		char vol_m_str[20] = "Vol M:";
		char vol_l_str[20] = "Vol L:";
		char vol_r_str[20] = "Vol R:";

		memset(fmt_tmp_str, 0x0, sizeof(fmt_tmp_str));
		itoa((current_settings.spk_volume[0] >> ENC_NUM_OF_FP_BITS),
				fmt_tmp_str, 10);
		strcat(vol_m_str, fmt_tmp_str);

		memset(fmt_tmp_str, 0x0, sizeof(fmt_tmp_str));
		itoa((current_settings.spk_volume[1] >> ENC_NUM_OF_FP_BITS),
				fmt_tmp_str, 10);
		strcat(vol_l_str, fmt_tmp_str);

		memset(fmt_tmp_str, 0x0, sizeof(fmt_tmp_str));
		itoa((current_settings.spk_volume[2] >> ENC_NUM_OF_FP_BITS),
				fmt_tmp_str, 10);
		strcat(vol_r_str, fmt_tmp_str);

		ssd1306_SetCursor(4, 24);
		ssd1306_WriteString(vol_m_str, Font_6x8, White);
		ssd1306_SetCursor(4, 32);
		ssd1306_WriteString(vol_l_str, Font_6x8, White);
		ssd1306_SetCursor(4, 40);
		ssd1306_WriteString(vol_r_str, Font_6x8, White);

		char mute_m_str[20] = "Mute M:";
		char mute_l_str[20] = "Mute L:";
		char mute_r_str[20] = "Mute R:";

		strcat(mute_m_str, (current_settings.spk_mute[0] ? "T" : "F"));
		strcat(mute_l_str, (current_settings.spk_mute[1] ? "T" : "F"));
		strcat(mute_r_str, (current_settings.spk_mute[2] ? "T" : "F"));

		ssd1306_SetCursor(68, 24);
		ssd1306_WriteString(mute_m_str, Font_6x8, White);
		ssd1306_SetCursor(68, 32);
		ssd1306_WriteString(mute_l_str, Font_6x8, White);
		ssd1306_SetCursor(68, 40);
		ssd1306_WriteString(mute_r_str, Font_6x8, White);

		char hid_stat_str[20] = "HID susp: ";
		strcat(hid_stat_str, (tud_suspended() ? "T" : "F"));
		strcat(hid_stat_str, ", rdy: ");
		strcat(hid_stat_str, (tud_hid_ready() ? "T" : "F"));

		ssd1306_SetCursor(4, 48);
		ssd1306_WriteString(hid_stat_str, Font_6x8, White);

	}
	ssd1306_UpdateScreen_DMA();
}

//-----------------------------------------------------------------
//                 USB HID
//-----------------------------------------------------------------

// Invoked when received GET_REPORT control request
// Application must fill buffer report's content and return its length.
// Return zero will cause the stack to STALL request
uint16_t tud_hid_get_report_cb(uint8_t instance, uint8_t report_id,
		hid_report_type_t report_type, uint8_t *buffer, uint16_t reqlen) {
	// TODO not Implemented
	(void) instance;
	(void) report_id;
	(void) report_type;
	(void) buffer;
	(void) reqlen;

	return 0;
}

// Invoked when received SET_REPORT control request or
// received data on OUT endpoint ( Report ID = 0, Type = 0 )
void tud_hid_set_report_cb(uint8_t instance, uint8_t report_id,
		hid_report_type_t report_type, uint8_t const *buffer, uint16_t bufsize) {
	(void) instance;

//  if (report_type == HID_REPORT_TYPE_OUTPUT)
//  {
//    // Set keyboard LED e.g Capslock, Numlock etc...
//    if (report_id == REPORT_ID_KEYBOARD)
//    {
//      // bufsize should be (at least) 1
//      if ( bufsize < 1 ) return;
//
//      uint8_t const kbd_leds = buffer[0];
//
//      if (kbd_leds & KEYBOARD_LED_CAPSLOCK)
//      {
//        // Capslock On: disable blink, turn led on
//        blink_interval_ms = 0;
//        board_led_write(true);
//      }else
//      {
//        // Caplocks Off: back to normal blink
//        board_led_write(false);
//        blink_interval_ms = BLINK_MOUNTED;
//      }
//    }
//  }
}

void check_buttons(void) {
	//--------------
	// Checking play/pause, scan prev/next buttons
	//--------------
	GPIO_PinState play_pause_pin_state = HAL_GPIO_ReadPin(
	USR_PLAY_PAUSE_BTN_GPIO_Port, USR_PLAY_PAUSE_BTN_Pin);
	GPIO_PinState scan_prev_pin_state = HAL_GPIO_ReadPin(
	USR_SCAN_PREV_BTN_GPIO_Port, USR_SCAN_PREV_BTN_Pin);
	GPIO_PinState scan_next_pin_state = HAL_GPIO_ReadPin(
	USR_SCAN_NEXT_BTN_GPIO_Port, USR_SCAN_NEXT_BTN_Pin);

	if ((play_pause_pin_state == GPIO_PIN_SET)
			&& (hid_status.btn_play_pause_status == GPIO_PIN_RESET)) {
		hid_status.custom_ctrl_scan_code_updated = true;
		hid_status.cur_custom_ctrl_scan_code =
		MY_TUD_HID_CONSUMER_PLAY_PAUSE_CODE;
	}
	hid_status.btn_play_pause_status = play_pause_pin_state;

	if ((scan_prev_pin_state == GPIO_PIN_SET)
			&& (hid_status.btn_scan_prev_status == GPIO_PIN_RESET)) {
		hid_status.custom_ctrl_scan_code_updated = true;
		hid_status.cur_custom_ctrl_scan_code =
		MY_TUD_HID_CONSUMER_SCAN_PREVIOUS_CODE;
	}
	hid_status.btn_scan_next_status = scan_prev_pin_state;

	if ((scan_next_pin_state == GPIO_PIN_SET)
			&& (hid_status.btn_scan_next_status == GPIO_PIN_RESET)) {
		hid_status.custom_ctrl_scan_code_updated = true;
		hid_status.cur_custom_ctrl_scan_code =
		MY_TUD_HID_CONSUMER_SCAN_NEXT_CODE;
	}
	hid_status.btn_scan_next_status = scan_next_pin_state;
	//--------------

	//--------------
	// Checking MIC mute button
	//--------------
	GPIO_PinState mic_mute_pin_state = HAL_GPIO_ReadPin(
	USR_MIC_MUTE_BTN_GPIO_Port, USR_MIC_MUTE_BTN_Pin);
	if ((mic_mute_pin_state == GPIO_PIN_SET)
			&& (hid_status.btn_mic_mute_status == GPIO_PIN_RESET)) {
		current_settings.usr_mic_mute = !current_settings.usr_mic_mute;
	}
	hid_status.btn_mic_mute_status = mic_mute_pin_state;

	//--------------
	// Checking SPK mute button
	//--------------
	GPIO_PinState spk_mute_pin_state = HAL_GPIO_ReadPin(
	USR_SPK_MUTE_BTN_GPIO_Port, USR_SPK_MUTE_BTN_Pin);
	if ((spk_mute_pin_state == GPIO_PIN_RESET)
			&& (hid_status.btn_spk_mute_status == GPIO_PIN_SET)) {
		hid_status.cur_custom_ctrl_scan_code = MY_TUD_HID_CONSUMER_MUTE_CODE;
		hid_status.custom_ctrl_scan_code_updated = true;
	}
	hid_status.btn_spk_mute_status = spk_mute_pin_state;
}

void usb_hid_task(void) {
	static uint32_t prev_hid_tasc_call__ms = 0;
	static bool prev_media_report_is_not_empty = false;

	uint32_t cur_time_ms = board_millis();

	// Update status once per second
	if (cur_time_ms - prev_hid_tasc_call__ms < 50)
		return;

	//--------------
	// Checking rotary encoder
	//--------------
	int16_t volume_rotary_encoder_cntr = __HAL_TIM_GET_COUNTER(&htim3);
	if (volume_rotary_encoder_cntr
			!= hid_status.volume_rotary_encoder_cntr_prev) {
		hid_status.cur_custom_ctrl_scan_code =
				(volume_rotary_encoder_cntr
						> hid_status.volume_rotary_encoder_cntr_prev) ?
						MY_TUD_HID_CONSUMER_VOLUME_INCREMENT_CODE :
						MY_TUD_HID_CONSUMER_VOLUME_DECREMENT_CODE;

		hid_status.custom_ctrl_scan_code_updated = true;

		hid_status.volume_rotary_encoder_cntr_prev = volume_rotary_encoder_cntr;
	}
	//--------------

	//--------------
	// Checking buttons
	//--------------
	check_buttons();
	//--------------

	// Remote wakeup
	if (tud_suspended() && (hid_status.cur_custom_ctrl_scan_code != 0x0)
			&& (hid_status.custom_ctrl_scan_code_updated == true)) {
		// Wake up host if we are in suspend mode
		// and REMOTE_WAKEUP feature is enabled by host
		tud_remote_wakeup();
	} else {
		if (!tud_hid_ready())
			return;

		if (hid_status.custom_ctrl_scan_code_updated == true) {
			tud_hid_report(REPORT_ID_CONSUMER_CONTROL,
					&(hid_status.cur_custom_ctrl_scan_code),
					sizeof(hid_status.cur_custom_ctrl_scan_code));

			hid_status.cur_custom_ctrl_scan_code = 0x0;
			hid_status.custom_ctrl_scan_code_updated = false;
			prev_media_report_is_not_empty = true;
		} else {
			if (prev_media_report_is_not_empty) {
				uint8_t empty_scan_code = 0x0;
				tud_hid_report(REPORT_ID_CONSUMER_CONTROL, &(empty_scan_code),
						sizeof(empty_scan_code));
				prev_media_report_is_not_empty = false;
			}
		}
	}
}

//-----------------------------------------------------------------
//-----------------------------------------------------------------

/* USER CODE END 4 */

void Error_Handler(void)
{
	__disable_irq();
	while (1) {
	}
}
